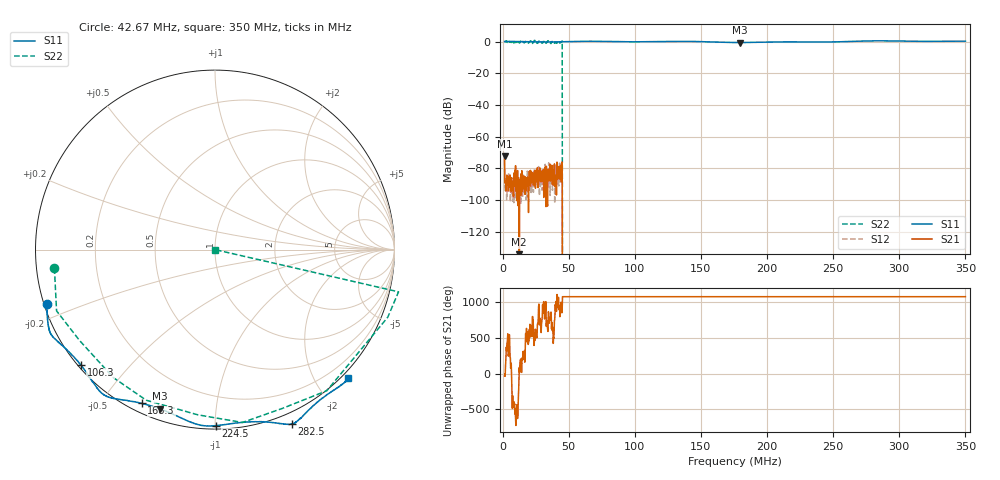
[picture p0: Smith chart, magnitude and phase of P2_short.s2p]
# Hz S RI R 50
! RAW DATA - UNCALIBRATED
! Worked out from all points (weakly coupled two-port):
!   1601 points, 1.5 MHz to 350 MHz, reference 50 ohm
!   highest |S21| = -72.43 dB at 1.5 MHz (marker M1); lowest = -185.0 dB at 12.61 MHz (marker M2)
!   lowest |S11| = -0.6 dB at 179.5 MHz (marker M3), VSWR 31.38, Z = 2.4 - j35.5 ohm
!   |S11| at or under -10 dB: nowhere
!   |S22| runs from - to 0.7 dB; largest |S21 - S12| = 0.00023
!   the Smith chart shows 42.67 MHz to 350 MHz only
!   S11 on the Smith chart (normalised r, x): 42.67 MHz: 0.01, -0.16; 106.3 MHz: 0.01, -0.37; 168.3 MHz: 0.04, -0.63; 224.5 MHz: 0.02, -1.00; 282.5 MHz: -0.10, -1.53; 350 MHz: -0.11, -2.47
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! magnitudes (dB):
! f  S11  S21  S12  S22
! 1.5 MHz  0.0  -72.4  -80.4  0.5
! 3.46 MHz  0.1  -90.8  -92.3  -0.3
! 12.61 MHz  0.1  -185.0  -90.3  -0.4
! 17.84 MHz  -0.1  -94.2  -93.7  -0.1
! 25.68 MHz  -0.2  -80.8  -82.5  -0.8
! 31.34 MHz  -0.2  -80.9  -80.6  0.1
! 35.91 MHz  -0.2  -77.5  -97.2  -0.3
! 42.67 MHz  -0.1  -78.9  -85.6  -0.9
! 43.32 MHz  -0.1  -80.6  -81.7  -0.8
! 47.02 MHz  0.0  -  -  -
! 59.66 MHz  0.2  -  -  -
! 106.3 MHz  -0.1  -  -  -
! 117.8 MHz  0.0  -  -  -
! 141.1 MHz  0.1  -  -  -
! 168.3 MHz  -0.5  -  -  -
! 175.8 MHz  -0.5  -  -  -
! 179.5 MHz  -0.6  -  -  -
! 224.5 MHz  -0.2  -  -  -
! 233.9 MHz  -0.2  -  -  -
! 282.5 MHz  0.5  -  -  -
! 292.1 MHz  0.5  -  -  -
! 350 MHz  0.3  -  -  -
